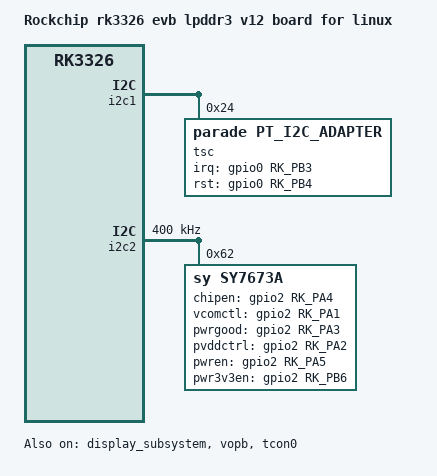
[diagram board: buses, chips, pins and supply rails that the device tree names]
// SPDX-License-Identifier: (GPL-2.0+ OR MIT)
/*
 * Copyright (c) 2022 Rockchip Electronics Co., Ltd
 *
 */

/dts-v1/;

#include "rk3326-evb-lp3-v10-linux.dts"

/ {
	model = "Rockchip rk3326 evb lpddr3 v12 board for linux";
	compatible = "rockchip,rk3326-evb-lp3-v12-linux", "rockchip,rk3326";
};

&dsi {
	status = "disabled";
};

/ {
        aliases {
                tcon0 = &tcon0;
        };

        reserved-memory {
                waveform_reserved: waveform@8000000 {
                        reg = <0x0 0x08000000 0x0 0x100000>;
                };

                display_reserved: framebuffer@10000000 {
                        reg = <0x0 0x10000000 0x0 0x800000>;
                };
        };

        tcon0: tcon@ff460000 {
                compatible = "rockchip,px30-eink-tcon";
                reg = <0x0 0xff460000 0x0 0x1fc>;
                interrupts = <GIC_SPI 77 IRQ_TYPE_LEVEL_HIGH>;
                clocks = <&cru ACLK_VOPB>, <&cru DCLK_VOPB>,
                         <&cru HCLK_VOPB>;
                clock-names = "aclk", "dclk", "hclk";
                power-domains = <&power PX30_PD_VO>;
                rockchip,grf = <&grf>;

                pinctrl-names = "default";
                pinctrl-0 = <&lcdc_m0_rgb_pins>;
                status = "disabled";
        };

        eink: eink {
                compatible = "rockchip,eink";
                tcon = <&tcon0>;
                memory-region = <&display_reserved>;
                waveform-region = <&waveform_reserved>;
                nvmem = <&otp>;
                nvmem-names = "rockchip-otp";
                status = "disabled";
        };
};

&eink {
        status = "okay";
        tcon = <&tcon0>;

        panel,width = <1872>;
        panel,height = <1404>;
        panel,vir_width = <1872>;
        panel,vir_height = <1404>;
        panel,sdck = <34000000>;
	panel,pixels-per-sdck = <8>;
        panel,lsl = <18>;
        panel,lbl = <17>;
        panel,ldl = <234>;
        panel,lel = <7>;
        panel,gdck-sta = <34>;
        panel,lgonl = <192>;
        panel,fsl = <1>;
        panel,fbl = <4>;
        panel,fdl = <1404>;
        panel,fel = <12>;
        panel,mirror = <0>;
	panel,vcom-mv = <1250>;
        panel,color_panel = <1>;
        panel,width-mm = <157>;
        panel,height-mm = <210>;
};

&tcon0 {
        status = "okay";
	pinctrl-0 = <&eink_tcon_pins>;
};

&display_subsystem {
        force-disconnected;
        status = "okay";
};

&vopb {
        status = "okay";
};

&vopb_mmu {
        status = "disabled";
};

&wireless_wlan {
	status = "disabled";
};

&wireless_bt {
	status = "disabled";
};

&rk817 {
	interrupts = <10 IRQ_TYPE_LEVEL_LOW>;
};

&i2c1 {
	status = "okay";

	tsc@24 {
		status = "okay";
		compatible = "parade,pt_i2c_adapter";
		reg = <0x24>;
		//interrupt-parent = <&gpio0>;
		//interrupts = <6 IRQ_TYPE_LEVEL_LOW>;
		pinctrl-names = "default";
		pinctrl-0 = <&tsc_gpio>;
		parade,irq-gpios = <&gpio0 RK_PB3 GPIO_ACTIVE_HIGH>;
		parade,rst-gpios = <&gpio0 RK_PB4 GPIO_ACTIVE_HIGH>;
		parade,adapter_id = "pt_i2c_adapter";

		parade,core {
			parade,name = "pt_core";
			parade,hid_desc_register = <1>;
			/*
			* PT_CORE_FLAG_NONE = 0x00
			* PT_CORE_FLAG_POWEROFF_ON_SLEEP = 0x02
			* PT_CORE_FLAG_RESTORE_PARAMETERS = 0x04
			* PT_CORE_FLAG_DEEP_STANDBY = 0x08
			* PT_CORE_FLAG_SKIP_SYS_SLEEP = 0x10
			* PT_CORE_FLAG_SKIP_RUNTIME = 0x20
			* PT_CORE_FLAG_SKIP_RESUME = 0x40
			*/
			parade,flags = <6>;
			/* PT_CORE_EWG_NONE */
			parade,easy_wakeup_gesture = <0>;
			/* 0:AUTO 1:PIP1_ONLY 2:PIP2_CAPABLE*/
			parade,config_dut_generation = <1>;
			/* 0:False 1:True*/
			parade,watchdog_force_stop = <0>;
			/*
			* PT_PANEL_ID_DISABLE = 0x00
			* PT_PANEL_ID_BY_BL  = 0x01
			* PT_PANEL_ID_BY_SYS_INFO  = 0x02
			* PT_PANEL_ID_BY_MFG_DATA  = 0x04
			*/
			parade,panel_id_support = <0>;
			parade,btn_keys = <172 /* KEY_HOMEPAGE */
			/* previously was KEY_HOME, new Android versions use KEY_HOMEPAGE */
						139 /* KEY_MENU */
						158 /* KEY_BACK */
						217 /* KEY_SEARCH */
						114 /* KEY_VOLUMEDOWN */
						115 /* KEY_VOLUMEUP */
						212 /* KEY_CAMERA */
						116>; /* KEY_POWER */
			parade,btn_keys-tag = <0>;

			parade,mt {
				parade,name = "pt_mt";
				parade,inp_dev_name = "pt_mt";
				/*
				* PT_MT_FLAG_NONE = 0x00
				* PT_MT_FLAG_FLIP = 0x08
				* PT_MT_FLAG_INV_X = 0x10
				* PT_MT_FLAG_INV_Y = 0x20
				* PT_MT_FLAG_VKEYS = 0x40
				*/
				parade,flags = <0x30>; /* PT_MT_FLAG_NONE */
				parade,abs =
					/* ABS_MT_POSITION_X, PT_ABS_MIN_X, PT_ABS_MAX_X, 0, 0 */
					<0x35 0 1404 0 0
					/* ABS_MT_POSITION_Y, PT_ABS_MIN_Y, PT_ABS_MAX_Y, 0, 0 */
					0x36 0 1872 0 0
					/* ABS_MT_PRESSURE, PT_ABS_MIN_P, PT_ABS_MAX_P, 0, 0 */
					0x3a 0 255 0 0
					/* PT_IGNORE_VALUE, PT_ABS_MIN_W, PT_ABS_MAX_W, 0, 0 */
					0xffff 0 255 0 0
					/* ABS_MT_TRACKING_ID, PT_ABS_MIN_T, PT_ABS_MAX_T, 0, 0 */
					0x39 0 15 0 0
					/* ABS_MT_TOUCH_MAJOR, 0, 255, 0, 0 */
					0x30 0 255 0 0
					/* ABS_MT_TOUCH_MINOR, 0, 255, 0, 0 */
					0x31 0 255 0 0
					/* ABS_MT_ORIENTATION, -127, 127, 0, 0 */
					0x34 0xffffff81 127 0 0
					/* ABS_MT_TOOL_TYPE, 0, MT_TOOL_MAX, 0, 0 */
					0x37 0 1 0 0
					/* ABS_DISTANCE, 0, 255, 0, 0 */
					0x19 0 255 0 0>;
					parade,vkeys_x = <1404>;
					parade,vkeys_y = <1872>;

					parade,virtual_keys = /* KeyCode CenterX CenterY Width Height */
					/* KEY_BACK */
					<158 90 1960 160 180
					/* KEY_MENU */
					139 270 1960 160 180
					/* KEY_HOMEPAGE */
					172 450 1960 160 180
					/* KEY SEARCH */
					217 630 1960 160 180>;
			};

			parade,btn {
				parade,name = "pt_btn";
				parade,inp_dev_name = "pt_btn";
			};

			parade,proximity {
				parade,name = "pt_proximity";
				parade,inp_dev_name = "pt_proximity";
				parade,abs =
					/* ABS_DISTANCE, PT_PROXIMITY_MIN_VAL, PT_PROXIMITY_MAX_VAL, 0, 0 */
					<0x19 0 1 0 0>;
			};
		};
	};
};

&i2c2 {
	status = "okay";
	clock-frequency = <400000>;

	sy7673a: sy7673a@62 {
		status = "okay";
		compatible = "sy,sy7673a";
		reg = <0x62>;
		pinctrl-names = "default";
		pinctrl-0 = <&sy7673a_gpio>;
		chipen-gpios = <&gpio2 RK_PA4 GPIO_ACTIVE_HIGH>; /*PMIC_ON*/
		vcomctl-gpios = <&gpio2 RK_PA1 GPIO_ACTIVE_HIGH>; /*PMIC_CTRL*/
		pwrgood-gpios = <&gpio2 RK_PA3 GPIO_ACTIVE_HIGH>; /*PMIC_PG*/
		pvddctrl-gpios = <&gpio2 RK_PA2 GPIO_ACTIVE_HIGH>; /*PMIC_WAKEUP*/
		pwren-gpios = <&gpio2 RK_PA5 GPIO_ACTIVE_HIGH>; /* PWR_EN */
		pwr3v3en-gpios = <&gpio2 RK_PB6 GPIO_ACTIVE_HIGH>; /* 3V3_EN */
	};
};

&pinctrl {
	tps_pmic {
		sy7673a_gpio: sy7673a-gpio {
			rockchip,pins =
				<2 RK_PA1 RK_FUNC_GPIO &pcfg_pull_up>,
				<2 RK_PA2 RK_FUNC_GPIO &pcfg_pull_up>,
				<2 RK_PA3 RK_FUNC_GPIO &pcfg_pull_up>,
				<2 RK_PA4 RK_FUNC_GPIO &pcfg_pull_up>,
				<2 RK_PA5 RK_FUNC_GPIO &pcfg_pull_up>,
				<2 RK_PB6 RK_FUNC_GPIO &pcfg_pull_up>;
		};
	};
	eink_tcon {
		eink_tcon_pins: eink-tcon-pins {
			rockchip,pins =
				<3 RK_PA0 1 &pcfg_pull_none_8ma>,       /* LCDC_DCLK */
				<3 RK_PA1 1 &pcfg_pull_none_8ma>,       /* LCDC_HSYNC */
				<3 RK_PA2 1 &pcfg_pull_none_8ma>,       /* LCDC_VSYNC */
				<3 RK_PA3 1 &pcfg_pull_none_8ma>,       /* LCDC_DEN */
				<3 RK_PA4 1 &pcfg_pull_none_8ma>,       /* LCDC_D0 */
				<3 RK_PA5 1 &pcfg_pull_none_8ma>,       /* LCDC_D1 */
				<3 RK_PA6 1 &pcfg_pull_none_8ma>,       /* LCDC_D2 */
				<3 RK_PA7 1 &pcfg_pull_none_8ma>,       /* LCDC_D3 */
				<3 RK_PB0 1 &pcfg_pull_none_8ma>,       /* LCDC_D4 */
				<3 RK_PB1 1 &pcfg_pull_none_8ma>,       /* LCDC_D5 */
				<3 RK_PB2 1 &pcfg_pull_none_8ma>,       /* LCDC_D6 */
				<3 RK_PB3 1 &pcfg_pull_none_8ma>,       /* LCDC_D7 */
				<3 RK_PB4 1 &pcfg_pull_none_8ma>,       /* LCDC_D8 */
				<3 RK_PB5 1 &pcfg_pull_none_8ma>,       /* LCDC_D9 */
				<3 RK_PB6 1 &pcfg_pull_none_8ma>,       /* LCDC_D10 */
				<3 RK_PB7 1 &pcfg_pull_none_8ma>,       /* LCDC_D11 */
				<3 RK_PC0 1 &pcfg_pull_none_8ma>,       /* LCDC_D12 */
				<3 RK_PC1 1 &pcfg_pull_none_8ma>,       /* LCDC_D13 */
				<3 RK_PC2 1 &pcfg_pull_none_8ma>,       /* LCDC_D14 */
				<3 RK_PC3 1 &pcfg_pull_none_8ma>,       /* LCDC_D15 */
				<3 RK_PC4 1 &pcfg_pull_none_8ma>,       /* LCDC_D16 */
				<3 RK_PC5 1 &pcfg_pull_none_8ma>,       /* LCDC_D17 */
				<3 RK_PC6 1 &pcfg_pull_none_8ma>,       /* LCDC_D18 */
				<3 RK_PC7 1 &pcfg_pull_none_8ma>,       /* LCDC_D19 */
				<3 RK_PD0 1 &pcfg_pull_none_8ma>,       /* LCDC_D20 */
				<3 RK_PD1 1 &pcfg_pull_none_8ma>,       /* LCDC_D21 */
				<3 RK_PD2 1 &pcfg_pull_none_8ma>,       /* LCDC_D22 */
				<3 RK_PD3 1 &pcfg_pull_none_8ma>;       /* LCDC_D23 */
		  };
	};

	tsc {
		tsc_gpio: tsc-gpio {
			rockchip,pins =
				<0 RK_PB3 RK_FUNC_GPIO &pcfg_pull_up>,
				<0 RK_PB4 RK_FUNC_GPIO &pcfg_pull_up>;
		};
	};

	lm3630a {
		lm3630a_gpio: lm3630a-gpio {
			rockchip,pins =
				<2 RK_PB5 RK_FUNC_GPIO &pcfg_pull_up>;
		};
	};
	pmic {
		pmic_int: pmic_int {
                        rockchip,pins =
                                <0 RK_PB2 RK_FUNC_GPIO &pcfg_pull_up>;
		};
	};
};

